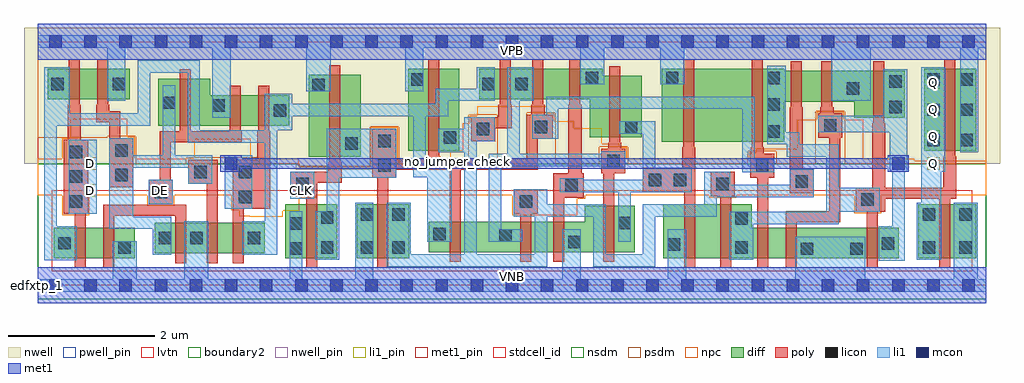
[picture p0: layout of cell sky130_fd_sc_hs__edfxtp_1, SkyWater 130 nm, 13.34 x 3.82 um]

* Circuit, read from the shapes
.subckt sky130_fd_sc_hs__edfxtp_1 CLK D DE Q VGND VNB VPB VPWR
XM1 n1 D n2 VNB sky130_fd_pr__nfet_01v8_lvt w=0.42 l=0.15
XM2 VGND DE n1 VNB sky130_fd_pr__nfet_01v8_lvt w=0.42 l=0.15
XM3 VGND DE n3 VNB sky130_fd_pr__nfet_01v8_lvt w=0.42 l=0.15
XM4 n4 n3 VGND VNB sky130_fd_pr__nfet_01v8_lvt w=0.42 l=0.15
XM5 n2 n5 n4 VNB sky130_fd_pr__nfet_01v8_lvt w=0.42 l=0.15
XM6 n6 CLK VGND VNB sky130_fd_pr__nfet_01v8_lvt w=0.74 l=0.15
XM7 n7 n6 VGND VNB sky130_fd_pr__nfet_01v8_lvt w=0.74 l=0.15
XM8 n8 n6 n2 VNB sky130_fd_pr__nfet_01v8_lvt w=0.42 l=0.15
XM9 n9 n7 n8 VNB sky130_fd_pr__nfet_01v8_lvt w=0.42 l=0.15
XM10 VGND n10 n9 VNB sky130_fd_pr__nfet_01v8_lvt w=0.42 l=0.15
XM11 n10 n8 VGND VNB sky130_fd_pr__nfet_01v8_lvt w=0.64 l=0.15
XM12 n11 n10 VGND VNB sky130_fd_pr__nfet_01v8_lvt w=0.74 l=0.15
XM13 n12 n7 n11 VNB sky130_fd_pr__nfet_01v8_lvt w=0.74 l=0.15
XM14 n13 n6 n12 VNB sky130_fd_pr__nfet_01v8_lvt w=0.42 l=0.15
XM15 VGND n5 n13 VNB sky130_fd_pr__nfet_01v8_lvt w=0.42 l=0.15
XM16 n5 n12 VGND VNB sky130_fd_pr__nfet_01v8_lvt w=0.42 l=0.15
XM17 VGND n12 Q VNB sky130_fd_pr__nfet_01v8_lvt w=0.74 l=0.15
XM18 n14 D n2 VPB sky130_fd_pr__pfet_01v8 w=0.42 l=0.15
XM19 VPWR n3 n14 VPB sky130_fd_pr__pfet_01v8 w=0.42 l=0.15
XM20 VPWR DE n3 VPB sky130_fd_pr__pfet_01v8 w=0.64 l=0.15
XM21 n15 DE VPWR VPB sky130_fd_pr__pfet_01v8 w=0.42 l=0.15
XM22 n2 n5 n15 VPB sky130_fd_pr__pfet_01v8 w=0.42 l=0.15
XM23 n6 CLK VPWR VPB sky130_fd_pr__pfet_01v8 w=1.12 l=0.15
XM24 n7 n6 VPWR VPB sky130_fd_pr__pfet_01v8 w=1.12 l=0.15
XM25 n8 n7 n2 VPB sky130_fd_pr__pfet_01v8 w=0.42 l=0.15
XM26 n16 n6 n8 VPB sky130_fd_pr__pfet_01v8 w=0.42 l=0.15
XM27 VPWR n10 n16 VPB sky130_fd_pr__pfet_01v8 w=0.42 l=0.15
XM28 n10 n8 VPWR VPB sky130_fd_pr__pfet_01v8 w=0.84 l=0.15
XM29 n17 n10 VPWR VPB sky130_fd_pr__pfet_01v8 w=1 l=0.15
XM30 n12 n6 n17 VPB sky130_fd_pr__pfet_01v8 w=1 l=0.15
XM31 n18 n7 n12 VPB sky130_fd_pr__pfet_01v8 w=0.42 l=0.15
XM32 VPWR n5 n18 VPB sky130_fd_pr__pfet_01v8 w=0.42 l=0.15
XM33 n5 n12 VPWR VPB sky130_fd_pr__pfet_01v8 w=0.64 l=0.15
XM34 VPWR n12 Q VPB sky130_fd_pr__pfet_01v8 w=1.12 l=0.15
.ends

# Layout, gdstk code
import gdstk
lib = gdstk.Library(unit=1e-6, precision=1e-09)
def R(c, l, rs):  # rectangles x0, y0, x1, y1
    for r in rs: c.add(gdstk.rectangle(r[:2], r[2:], *l))
def A(c, l, x, y, w, h, nx, ny, dx, dy):  # array of equal rectangles
    R(c, l, [(x+i*dx, y+j*dy, x+i*dx+w, y+j*dy+h) for i in range(nx) for j in range(ny)])
def P(c, l, *ps):  # polygons
    for p in ps: c.add(gdstk.Polygon(p, *l))
nwell_pin = (64, 16)
nwell = (64, 20)
diff = (65, 20)
poly = (66, 20)
licon = (66, 44)
li1_pin = (67, 16)
li1 = (67, 20)
mcon = (67, 44)
met1_pin = (68, 16)
met1 = (68, 20)
stdcell_id = (81, 4)
nsdm = (93, 44)
psdm = (94, 20)
npc = (95, 20)
pwell_pin = (122, 16)
lvtn = (125, 44)
boundary2 = (236, 0)

sky130_fd_sc_hs__edfxtp_ = lib.new_cell('sky130_fd_sc_hs__edfxtp_1')
R(sky130_fd_sc_hs__edfxtp_, nwell_pin, [(0,3.085,12.96,3.33)])
P(sky130_fd_sc_hs__edfxtp_, nwell, [(13.15,3.52),(-0.19,3.52),(-0.19,1.66),(3.525,1.66),(3.525,1.58),(4.59,1.58),(4.59,1.66),(13.15,1.66)])
R(sky130_fd_sc_hs__edfxtp_, diff, [(0.22,0.37,1.325,0.79), (3.38,0.37,4.09,1.11), (4.36,0.37,5.075,1.11), (12.035,0.37,12.825,1.11), (1.595,0.435,3.1,0.855), (3.705,1.76,4.41,2.88), (5.06,1.84,5.76,2.96), (12.115,1.84,12.825,2.96), (0.135,2.54,1.255,2.96)])
P(sky130_fd_sc_hs__edfxtp_, diff, [(3.435,2.6),(2.355,2.6),(2.355,2.82),(1.645,2.82),(1.645,2.18),(3.435,2.18)],
  [(8.16,1.09),(7.475,1.09),(7.475,0.87),(5.345,0.87),(5.345,0.45),(8.16,0.45)],
  [(8.255,2.865),(7.72,2.865),(7.72,2.96),(6.03,2.96),(6.03,2.54),(7.545,2.54),(7.545,2.025),(8.255,2.025)],
  [(11.765,0.79),(9.76,0.79),(9.76,1.11),(8.55,1.11),(8.55,0.37),(11.765,0.37)],
  [(11.845,2.93),(10.2,2.93),(10.2,2.96),(8.525,2.96),(8.525,1.96),(10.2,1.96),(10.2,2.51),(11.155,2.51),(11.155,2.29),(11.845,2.29)])
P(sky130_fd_sc_hs__edfxtp_, poly, [(12.555,1.765),(12.54,1.765),(12.54,3.09),(12.39,3.09),(12.39,1.765),(12.375,1.765),(12.375,1.335),(11.585,1.335),(11.585,2.215),(11.57,2.215),(11.57,3.06),(11.42,3.06),(11.42,2.215),(11.405,2.215),(11.405,1.335),(11.175,1.335),(11.175,1.005),(11.33,1.005),(11.33,0.24),(11.48,0.24),(11.48,1.005),(11.585,1.005),(11.585,1.185),(12.32,1.185),(12.32,0.24),(12.47,0.24),(12.47,1.185),(12.555,1.185)],
  [(10.995,2.35),(10.875,2.35),(10.875,2.435),(10.86,2.435),(10.86,3.06),(10.71,3.06),(10.71,2.435),(10.695,2.435),(10.695,2.35),(10.665,2.35),(10.665,2.02),(10.815,2.02),(10.815,1.015),(10.225,1.015),(10.225,0.24),(10.375,0.24),(10.375,0.865),(10.965,0.865),(10.965,2.02),(10.995,2.02)],
  [(10.605,1.585),(10.455,1.585),(10.455,2.435),(10.44,2.435),(10.44,3.06),(10.29,3.06),(10.29,2.435),(10.275,2.435),(10.275,1.255),(10.605,1.255)],
  [(10.065,1.8),(9.92,1.8),(9.92,1.885),(9.905,1.885),(9.905,3.09),(9.755,3.09),(9.755,1.885),(9.74,1.885),(9.74,1.8),(9.735,1.8),(9.735,1.47),(9.835,1.47),(9.835,0.24),(9.985,0.24),(9.985,1.47),(10.065,1.47)],
  [(9.525,1.55),(9.195,1.55),(9.195,1.22),(9.325,1.22),(9.325,0.24),(9.475,0.24),(9.475,1.22),(9.525,1.22)],
  [(8.985,1.885),(8.97,1.885),(8.97,3.09),(8.82,3.09),(8.82,1.885),(8.805,1.885),(8.805,1.605),(8.27,1.605),(8.27,1.275),(8.835,1.275),(8.835,0.24),(8.985,0.24)],
  [(8.03,1.865),(7.975,1.865),(7.975,1.95),(7.96,1.95),(7.96,2.995),(7.81,2.995),(7.81,1.95),(7.795,1.95),(7.795,1.865),(7.7,1.865),(7.7,1.535),(7.725,1.535),(7.725,0.32),(7.875,0.32),(7.875,1.535),(8.03,1.535)],
  [(7.46,1.53),(7.43,1.53),(7.43,2.465),(7.415,2.465),(7.415,3.09),(7.265,3.09),(7.265,2.465),(7.25,2.465),(7.25,1.53),(7.045,1.53),(7.045,0.32),(7.195,0.32),(7.195,1.2),(7.46,1.2)],
  [(7.04,2.33),(6.925,2.33),(6.925,2.465),(6.91,2.465),(6.91,3.09),(6.76,3.09),(6.76,2.465),(6.745,2.465),(6.745,2.33),(6.685,2.33),(6.685,1.73),(5.5,1.73),(5.5,1.765),(5.485,1.765),(5.485,3.09),(5.335,3.09),(5.335,1.765),(5.32,1.765),(5.32,1.73),(4.9,1.73),(4.9,2.14),(4.57,2.14),(4.57,1.47),(4.64,1.47),(4.64,0.24),(4.79,0.24),(4.79,1.47),(4.9,1.47),(4.9,1.58),(5.63,1.58),(5.63,0.32),(5.78,0.32),(5.78,1.58),(6.835,1.58),(6.835,2),(7.04,2)],
  [(6.835,1.31),(6.505,1.31),(6.505,0.98),(6.595,0.98),(6.595,0.32),(6.745,0.32),(6.745,0.98),(6.835,0.98)],
  [(6.475,2.465),(6.46,2.465),(6.46,3.09),(6.31,3.09),(6.31,2.465),(6.295,2.465),(6.295,2.3),(5.92,2.3),(5.92,1.97),(6.25,1.97),(6.25,2.15),(6.475,2.15)],
  [(4.15,1.685),(4.135,1.685),(4.135,3.01),(3.985,3.01),(3.985,1.685),(3.97,1.685),(3.97,1.55),(3.45,1.55),(3.45,1.22),(3.665,1.22),(3.665,0.24),(3.815,0.24),(3.815,1.4),(4.15,1.4)],
  [(3.175,2.105),(3.16,2.105),(3.16,2.73),(3.01,2.73),(3.01,2.105),(2.995,2.105),(2.995,1.715),(2.665,1.715),(2.665,0.305),(2.815,0.305),(2.815,1.045),(3.175,1.045)],
  [(2.785,2.105),(2.77,2.105),(2.77,2.73),(2.62,2.73),(2.62,2.105),(2.09,2.105),(2.09,2.95),(1.94,2.95),(1.94,2.105),(1.665,2.105),(1.665,1.44),(1.515,1.44),(1.515,1.1),(0.895,1.1),(0.895,0.24),(1.045,0.24),(1.045,0.95),(1.875,0.95),(1.875,0.305),(2.025,0.305),(2.025,1.1),(1.845,1.1),(1.845,1.44),(1.815,1.44),(1.815,1.955),(2.785,1.955)],
  [(2.455,1.715),(2.055,1.715),(2.055,1.385),(2.305,1.385),(2.305,0.305),(2.455,0.305)],
  [(1.305,2.01),(1.125,2.01),(1.125,2.38),(0.975,2.38),(0.975,2.465),(0.96,2.465),(0.96,3.09),(0.81,3.09),(0.81,2.465),(0.795,2.465),(0.795,2.23),(0.975,2.23),(0.975,1.34),(1.305,1.34)],
  [(0.685,1.99),(0.585,1.99),(0.585,2.465),(0.57,2.465),(0.57,3.09),(0.42,3.09),(0.42,2.465),(0.405,2.465),(0.405,1.99),(0.355,1.99),(0.355,0.98),(0.505,0.98),(0.505,0.24),(0.655,0.24),(0.655,0.98),(0.685,0.98)])
A(sky130_fd_sc_hs__edfxtp_, licon, 0.435, 1.06, 0.17, 0.17, 1, 3, 0, 0.34)
A(sky130_fd_sc_hs__edfxtp_, licon, 12.155, 1.9, 0.17, 0.17, 1, 3, 0, 0.415)
A(sky130_fd_sc_hs__edfxtp_, licon, 12.605, 1.9, 0.17, 0.17, 1, 3, 0, 0.415)
A(sky130_fd_sc_hs__edfxtp_, licon, 9.97, 2.02, 0.17, 0.17, 1, 3, 0, 0.365)
R(sky130_fd_sc_hs__edfxtp_, licon, [(10.43,0.415,10.6,0.585), (11.105,0.415,11.275,0.585), (3.44,0.42,3.61,0.59), (1.1,0.43,1.27,0.6), (3.87,0.43,4.04,0.6), (4.415,0.43,4.585,0.6), (4.845,0.43,5.015,0.6), (9.53,0.43,9.7,0.6), (12.095,0.43,12.265,0.6), (12.595,0.43,12.765,0.6), (8.61,0.47,8.78,0.64), (11.535,0.485,11.705,0.655), (0.28,0.49,0.45,0.66), (7.25,0.51,7.42,0.68), (1.65,0.56,1.82,0.73), (2.08,0.56,2.25,0.73), (2.87,0.56,3.04,0.73), (6.305,0.595,6.475,0.765), (5.405,0.615,5.575,0.785), (3.44,0.76,3.61,0.93), (7.93,0.765,8.1,0.935), (9.53,0.83,9.7,1), (3.87,0.84,4.04,1.01), (4.415,0.88,4.585,1.05), (4.845,0.88,5.015,1.05), (12.095,0.88,12.265,1.05), (12.595,0.88,12.765,1.05), (6.585,1.06,6.755,1.23), (11.255,1.085,11.425,1.255), (2.745,1.125,2.915,1.295), (1.595,1.19,1.765,1.36), (7.21,1.28,7.38,1.45), (3.53,1.3,3.7,1.47), (9.275,1.3,9.445,1.47), (10.355,1.335,10.525,1.505), (8.35,1.355,8.52,1.525), (8.69,1.355,8.86,1.525), (1.055,1.42,1.225,1.59), (2.135,1.465,2.305,1.635), (2.745,1.465,2.915,1.635), (4.65,1.55,4.82,1.72), (9.815,1.55,9.985,1.72), (7.78,1.615,7.95,1.785), (1.055,1.76,1.225,1.93), (4.2,1.855,4.37,2.025), (4.65,1.89,4.82,2.06), (5.55,1.935,5.72,2.105), (6,2.05,6.17,2.22), (8.025,2.07,8.195,2.24), (6.79,2.08,6.96,2.25), (10.745,2.1,10.915,2.27), (3.225,2.305,3.395,2.475), (11.635,2.35,11.805,2.52), (2.385,2.37,2.555,2.54), (1.705,2.41,1.875,2.58), (11.055,2.605,11.225,2.775), (3.75,2.65,3.92,2.82), (0.185,2.665,0.355,2.835), (1.025,2.665,1.195,2.835), (6.075,2.665,6.245,2.835), (6.525,2.665,6.695,2.835), (11.635,2.7,11.805,2.87), (5.1,2.73,5.27,2.9), (7.49,2.75,7.66,2.92), (8.585,2.75,8.755,2.92)])
A(sky130_fd_sc_hs__edfxtp_, li1_pin, 12.155, 1.58, 0.17, 0.17, 1, 4, 0, 0.37)
R(sky130_fd_sc_hs__edfxtp_, li1_pin, [(0.635,1.21,0.805,1.38), (1.595,1.21,1.765,1.38), (3.515,1.21,3.685,1.38), (0.635,1.58,0.805,1.75)])
R(sky130_fd_sc_hs__edfxtp_, li1, [(0.425,0.98,0.805,1.99), (2.555,1.045,2.93,1.78), (1.515,1.11,1.845,1.44), (3.45,1.18,3.78,1.55)])
P(sky130_fd_sc_hs__edfxtp_, li1, [(0,3.245),(0,3.415),(12.96,3.415),(12.96,3.245),(12.855,3.245),(12.855,1.82),(12.605,1.82),(12.605,3.245),(11.385,3.245),(11.385,2.525),(10.845,2.525),(10.845,3.245),(8.835,3.245),(8.835,2.75),(8.505,2.75),(8.505,3.245),(7.74,3.245),(7.74,2.75),(7.41,2.75),(7.41,3.245),(5.27,3.245),(5.27,2.65),(5.02,2.65),(5.02,3.245),(4,3.245),(4,2.65),(3.67,2.65),(3.67,3.245),(2.635,3.245),(2.635,2.29),(2.385,2.29),(2.385,3.245),(1.195,3.245),(1.195,2.52),(0.945,2.52),(0.945,3.245)],
  [(0,-0.085),(0,0.085),(1.02,0.085),(1.02,0.6),(1.35,0.6),(1.35,0.085),(2,0.085),(2,0.875),(2.33,0.875),(2.33,0.085),(3.44,0.085),(3.44,1.01),(3.61,1.01),(3.61,0.085),(4.335,0.085),(4.335,1.13),(4.585,1.13),(4.585,0.085),(7.17,0.085),(7.17,0.765),(7.42,0.765),(7.42,0.085),(8.61,0.085),(8.61,0.765),(8.86,0.765),(8.86,0.085),(10.35,0.085),(10.35,0.665),(11.31,0.665),(11.31,0.085),(12.515,0.085),(12.515,1.13),(12.845,1.13),(12.845,0.085),(12.96,0.085),(12.96,-0.085)],
  [(12.075,1.13),(12.075,2.98),(12.405,2.98),(12.405,1.55),(12.345,1.55),(12.345,0.35),(12.015,0.35),(12.015,1.13)],
  [(5.095,0.425),(5.825,0.425),(5.825,1.82),(5.47,1.82),(5.47,2.14),(5.825,2.14),(5.825,2.3),(6.245,2.3),(6.245,1.97),(5.995,1.97),(5.995,0.425),(6.79,0.425),(6.79,0.935),(6.505,0.935),(6.505,1.31),(6.96,1.31),(6.96,1.105),(7.76,1.105),(7.76,0.425),(8.27,0.425),(8.27,1.105),(9.11,1.105),(9.11,1.55),(9.46,1.55),(9.46,1.375),(10.275,1.375),(10.275,1.585),(10.605,1.585),(10.605,1.205),(9.28,1.205),(9.28,0.935),(8.44,0.935),(8.44,0.255),(7.59,0.255),(7.59,0.935),(6.96,0.935),(6.96,0.255),(4.765,0.255),(4.765,1.13),(5.095,1.13)],
  [(6.945,2.58),(9.8,2.58),(9.8,1.725),(10.065,1.725),(10.065,1.545),(9.63,1.545),(9.63,2.41),(7.115,2.41),(7.115,2),(6.755,2),(6.755,2.33),(6.945,2.33)],
  [(2.79,0.415),(2.79,0.875),(3.1,0.875),(3.1,1.95),(2.045,1.95),(2.045,2.905),(1.535,2.905),(1.535,2.18),(0.255,2.18),(0.255,0.81),(0.53,0.81),(0.53,0.34),(0.085,0.34),(0.085,2.98),(0.435,2.98),(0.435,2.35),(1.365,2.35),(1.365,3.075),(2.215,3.075),(2.215,2.12),(3.1,2.12),(3.1,2.62),(3.475,2.62),(3.475,2.48),(5.44,2.48),(5.44,2.69),(5.995,2.69),(5.995,2.98),(6.245,2.98),(6.245,2.52),(5.61,2.52),(5.61,2.31),(5.3,2.31),(5.3,1.65),(5.655,1.65),(5.655,0.595),(5.325,0.595),(5.325,1.48),(5.13,1.48),(5.13,2.31),(3.475,2.31),(3.475,2.12),(3.27,2.12),(3.27,0.415)],
  [(7.46,1.445),(8.27,1.445),(8.27,2.07),(7.945,2.07),(7.945,2.24),(8.44,2.24),(8.44,1.605),(8.94,1.605),(8.94,1.275),(8.1,1.275),(8.1,0.595),(7.93,0.595),(7.93,1.275),(7.13,1.275),(7.13,1.46),(7.46,1.46)],
  [(6.165,1.8),(6.415,1.8),(6.415,2.98),(6.775,2.98),(6.775,2.52),(6.585,2.52),(6.585,1.8),(7.7,1.8),(7.7,1.83),(8.03,1.83),(8.03,1.615),(7.7,1.615),(7.7,1.63),(6.335,1.63),(6.335,0.765),(6.62,0.765),(6.62,0.595),(6.165,0.595)],
  [(10.665,2.095),(10.665,2.32),(11.555,2.32),(11.555,2.95),(11.885,2.95),(11.885,1.55),(11.845,1.55),(11.845,0.335),(11.49,0.335),(11.49,0.81),(11.675,0.81),(11.675,1.55),(11.645,1.55),(11.645,2.095)],
  [(3.95,1.01),(3.95,2.14),(4.9,2.14),(4.9,1.47),(4.12,1.47),(4.12,0.35),(3.79,0.35),(3.79,1.01)],
  [(10.775,1.005),(10.775,1.755),(10.235,1.755),(10.235,1.925),(9.97,1.925),(9.97,3),(10.22,3),(10.22,2.095),(10.405,2.095),(10.405,1.925),(10.945,1.925),(10.945,1.335),(11.505,1.335),(11.505,1.005),(10.945,1.005),(10.945,0.835),(9.78,0.835),(9.78,0.35),(9.45,0.35),(9.45,1.005)],
  [(1.305,1.78),(1.705,1.78),(1.705,2.735),(1.875,2.735),(1.875,1.78),(2.385,1.78),(2.385,1.385),(2.055,1.385),(2.055,1.61),(1.305,1.61),(1.305,0.94),(1.82,0.94),(1.82,0.415),(1.57,0.415),(1.57,0.77),(0.975,0.77),(0.975,2.01),(1.305,2.01)])
A(sky130_fd_sc_hs__edfxtp_, mcon, 0.155, -0.085, 0.17, 0.17, 27, 2, 0.48, 3.33)
R(sky130_fd_sc_hs__edfxtp_, mcon, [(2.555,1.58,2.725,1.75), (11.675,1.58,11.845,1.75)])
R(sky130_fd_sc_hs__edfxtp_, met1_pin, [(0,0,12.96,0.245), (0,3.085,12.96,3.33)])
R(sky130_fd_sc_hs__edfxtp_, met1, [(0,-0.245,12.96,0.245), (0,3.085,12.96,3.575)])
P(sky130_fd_sc_hs__edfxtp_, met1, [(2.785,1.735),(11.615,1.735),(11.615,1.78),(11.905,1.78),(11.905,1.55),(11.615,1.55),(11.615,1.595),(2.785,1.595),(2.785,1.55),(2.495,1.55),(2.495,1.78),(2.785,1.78)])
R(sky130_fd_sc_hs__edfxtp_, stdcell_id, [(0,0,12.96,3.33)])
P(sky130_fd_sc_hs__edfxtp_, nsdm, [(12.96,1.66),(4.54,1.66),(4.54,1.63),(3.575,1.63),(3.575,1.66),(0,1.66),(0,-0.19),(12.96,-0.19)])
P(sky130_fd_sc_hs__edfxtp_, psdm, [(12.96,3.52),(0,3.52),(0,2.02),(0.945,2.02),(0.945,2.04),(1.335,2.04),(1.335,1.66),(2.025,1.66),(2.025,1.745),(3.025,1.745),(3.025,1.66),(3.575,1.66),(3.575,1.63),(4.54,1.63),(4.54,2.17),(4.93,2.17),(4.93,1.66),(5.89,1.66),(5.89,2.33),(6.28,2.33),(6.28,1.66),(6.68,1.66),(6.68,2.36),(7.07,2.36),(7.07,1.66),(7.67,1.66),(7.67,1.895),(8.06,1.895),(8.06,1.66),(9.705,1.66),(9.705,1.83),(10.095,1.83),(10.095,1.66),(10.635,1.66),(10.635,2.38),(11.025,2.38),(11.025,1.66),(12.96,1.66)])
P(sky130_fd_sc_hs__edfxtp_, npc, [(12.96,1.7),(11.975,1.7),(11.975,1.73),(11.28,1.73),(11.28,2.265),(11.015,2.265),(11.015,2.37),(10.645,2.37),(10.645,2.265),(10.38,2.265),(10.38,1.87),(9.82,1.87),(9.82,1.82),(9.715,1.82),(9.715,1.73),(8.05,1.73),(8.05,1.885),(7.945,1.885),(7.945,1.935),(7.705,1.935),(7.705,2.15),(7.325,2.15),(7.325,2.245),(7.06,2.245),(7.06,2.35),(6.955,2.35),(6.955,2.45),(6.005,2.45),(6.005,2.32),(5.9,2.32),(5.9,2.215),(5.81,2.215),(5.81,1.845),(5.635,1.845),(5.635,1.7),(4.92,1.7),(4.92,2.16),(4.55,2.16),(4.55,1.62),(3.565,1.62),(3.565,1.73),(3.015,1.73),(3.015,1.735),(2.91,1.735),(2.91,2),(2.14,2),(2.14,1.735),(2.035,1.735),(2.035,1.73),(1.325,1.73),(1.325,2.03),(1.22,2.03),(1.22,2.275),(0.44,2.275),(0.44,2.01),(0.335,2.01),(0.335,1.73),(0,1.73),(0,1.23),(0.335,1.23),(0.335,0.96),(0.705,0.96),(0.705,1.23),(1.495,1.23),(1.495,1.09),(1.865,1.09),(1.865,1.23),(2.645,1.23),(2.645,1.025),(2.75,1.025),(2.75,0.945),(2.905,0.945),(2.905,0.935),(3.35,0.935),(3.35,1.02),(3.575,1.02),(3.575,1.2),(3.8,1.2),(3.8,1.23),(6.485,1.23),(6.485,0.96),(7.375,0.96),(7.375,1.18),(7.48,1.18),(7.48,1.23),(9.175,1.23),(9.175,1.2),(9.545,1.2),(9.545,1.23),(11.155,1.23),(11.155,0.985),(11.525,0.985),(11.525,1.23),(12.96,1.23)])
R(sky130_fd_sc_hs__edfxtp_, pwell_pin, [(0,0,12.96,0.245)])
R(sky130_fd_sc_hs__edfxtp_, lvtn, [(0.19,0.19,12.77,1.3)])
R(sky130_fd_sc_hs__edfxtp_, boundary2, [(0,0,12.96,3.33)])
sky130_fd_sc_hs__edfxtp_.add(gdstk.Label('edfxtp_1', (0,0), layer=83, texttype=44))
sky130_fd_sc_hs__edfxtp_.add(gdstk.Label('no_jumper_check', (5.735,1.695), layer=83, texttype=44))
sky130_fd_sc_hs__edfxtp_.add(gdstk.Label('VNB', (6.48,0.123), layer=64, texttype=59))
sky130_fd_sc_hs__edfxtp_.add(gdstk.Label('VPB', (6.48,3.208), layer=64, texttype=5))
sky130_fd_sc_hs__edfxtp_.add(gdstk.Label('VPWR', (6.48,3.208), layer=68, texttype=5))
sky130_fd_sc_hs__edfxtp_.add(gdstk.Label('VGND', (6.48,0.123), layer=68, texttype=5))
sky130_fd_sc_hs__edfxtp_.add(gdstk.Label('DE', (1.68,1.295), layer=67, texttype=5))
sky130_fd_sc_hs__edfxtp_.add(gdstk.Label('D', (0.72,1.295), layer=67, texttype=5))
sky130_fd_sc_hs__edfxtp_.add(gdstk.Label('D', (0.72,1.665), layer=67, texttype=5))
sky130_fd_sc_hs__edfxtp_.add(gdstk.Label('CLK', (3.6,1.295), layer=67, texttype=5))
sky130_fd_sc_hs__edfxtp_.add(gdstk.Label('Q', (12.24,1.665), layer=67, texttype=5))
sky130_fd_sc_hs__edfxtp_.add(gdstk.Label('Q', (12.24,2.035), layer=67, texttype=5))
sky130_fd_sc_hs__edfxtp_.add(gdstk.Label('Q', (12.24,2.405), layer=67, texttype=5))
sky130_fd_sc_hs__edfxtp_.add(gdstk.Label('Q', (12.24,2.775), layer=67, texttype=5))

lib.write_gds('sky130_fd_sc_hs__edfxtp_1.gds')
